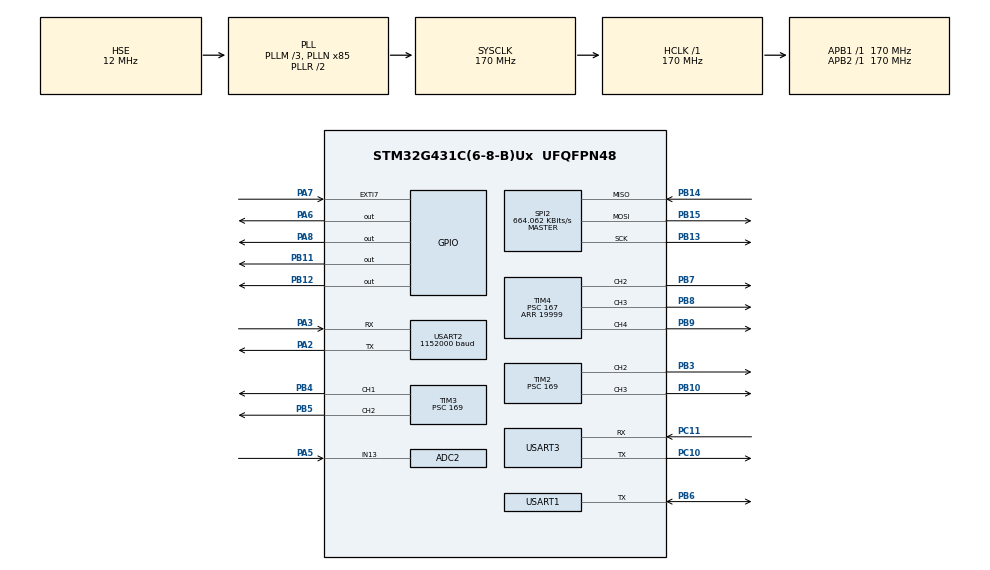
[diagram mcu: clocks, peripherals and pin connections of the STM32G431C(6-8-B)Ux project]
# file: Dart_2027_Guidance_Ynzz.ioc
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ADC2.Channel-0\#ChannelRegularConversion=ADC_CHANNEL_13
ADC2.ContinuousConvMode=ENABLE
ADC2.DMAContinuousRequests=ENABLE
ADC2.NbrOfConversionFlag=1
ADC2.OffsetNumber-0\#ChannelRegularConversion=ADC_OFFSET_NONE
ADC2.Rank-0\#ChannelRegularConversion=1
ADC2.SamplingTime-0\#ChannelRegularConversion=ADC_SAMPLETIME_247CYCLES_5
Dma.ADC2.0.Direction=DMA_PERIPH_TO_MEMORY
Dma.ADC2.0.EventEnable=DISABLE
Dma.ADC2.0.Instance=DMA1_Channel1
Dma.ADC2.0.MemDataAlignment=DMA_MDATAALIGN_HALFWORD
Dma.ADC2.0.MemInc=DMA_MINC_ENABLE
Dma.ADC2.0.Mode=DMA_CIRCULAR
Dma.ADC2.0.PeriphDataAlignment=DMA_PDATAALIGN_HALFWORD
Dma.ADC2.0.PeriphInc=DMA_PINC_DISABLE
Dma.ADC2.0.Polarity=HAL_DMAMUX_REQ_GEN_RISING
Dma.ADC2.0.Priority=DMA_PRIORITY_LOW
Dma.ADC2.0.RequestNumber=1
Dma.ADC2.0.SignalID=NONE
Dma.ADC2.0.SyncEnable=DISABLE
Dma.ADC2.0.SyncPolarity=HAL_DMAMUX_SYNC_NO_EVENT
Dma.ADC2.0.SyncRequestNumber=1
Dma.ADC2.0.SyncSignalID=NONE
Dma.Request0=ADC2
Dma.Request1=USART1_RX
Dma.Request2=USART1_TX
Dma.Request3=USART2_RX
Dma.Request4=USART2_TX
Dma.Request5=USART3_TX
Dma.Request6=USART3_RX
Dma.USART1_RX.1.Direction=DMA_PERIPH_TO_MEMORY
Dma.USART1_RX.1.EventEnable=DISABLE
Dma.USART1_RX.1.Instance=DMA1_Channel2
Dma.USART1_RX.1.MemDataAlignment=DMA_MDATAALIGN_BYTE
Dma.USART1_RX.1.MemInc=DMA_MINC_ENABLE
Dma.USART1_RX.1.Mode=DMA_NORMAL
Dma.USART1_RX.1.PeriphDataAlignment=DMA_PDATAALIGN_BYTE
Dma.USART1_RX.1.PeriphInc=DMA_PINC_DISABLE
Dma.USART1_RX.1.Polarity=HAL_DMAMUX_REQ_GEN_RISING
Dma.USART1_RX.1.Priority=DMA_PRIORITY_LOW
Dma.USART1_RX.1.RequestNumber=1
Dma.USART1_RX.1.SignalID=NONE
Dma.USART1_RX.1.SyncEnable=DISABLE
Dma.USART1_RX.1.SyncPolarity=HAL_DMAMUX_SYNC_NO_EVENT
Dma.USART1_RX.1.SyncRequestNumber=1
Dma.USART1_RX.1.SyncSignalID=NONE
Dma.USART1_TX.2.Direction=DMA_MEMORY_TO_PERIPH
Dma.USART1_TX.2.EventEnable=DISABLE
Dma.USART1_TX.2.Instance=DMA1_Channel3
Dma.USART1_TX.2.MemDataAlignment=DMA_MDATAALIGN_BYTE
Dma.USART1_TX.2.MemInc=DMA_MINC_ENABLE
Dma.USART1_TX.2.Mode=DMA_NORMAL
Dma.USART1_TX.2.PeriphDataAlignment=DMA_PDATAALIGN_BYTE
Dma.USART1_TX.2.PeriphInc=DMA_PINC_DISABLE
Dma.USART1_TX.2.Polarity=HAL_DMAMUX_REQ_GEN_RISING
Dma.USART1_TX.2.Priority=DMA_PRIORITY_LOW
Dma.USART1_TX.2.RequestNumber=1
Dma.USART1_TX.2.SignalID=NONE
Dma.USART1_TX.2.SyncEnable=DISABLE
Dma.USART1_TX.2.SyncPolarity=HAL_DMAMUX_SYNC_NO_EVENT
Dma.USART1_TX.2.SyncRequestNumber=1
Dma.USART1_TX.2.SyncSignalID=NONE
Dma.USART2_RX.3.Direction=DMA_PERIPH_TO_MEMORY
Dma.USART2_RX.3.EventEnable=DISABLE
Dma.USART2_RX.3.Instance=DMA1_Channel4
Dma.USART2_RX.3.MemDataAlignment=DMA_MDATAALIGN_BYTE
Dma.USART2_RX.3.MemInc=DMA_MINC_ENABLE
Dma.USART2_RX.3.Mode=DMA_NORMAL
Dma.USART2_RX.3.PeriphDataAlignment=DMA_PDATAALIGN_BYTE
Dma.USART2_RX.3.PeriphInc=DMA_PINC_DISABLE
Dma.USART2_RX.3.Polarity=HAL_DMAMUX_REQ_GEN_RISING
Dma.USART2_RX.3.Priority=DMA_PRIORITY_LOW
Dma.USART2_RX.3.RequestNumber=1
Dma.USART2_RX.3.SignalID=NONE
Dma.USART2_RX.3.SyncEnable=DISABLE
Dma.USART2_RX.3.SyncPolarity=HAL_DMAMUX_SYNC_NO_EVENT
Dma.USART2_RX.3.SyncRequestNumber=1
Dma.USART2_RX.3.SyncSignalID=NONE
Dma.USART2_TX.4.Direction=DMA_MEMORY_TO_PERIPH
Dma.USART2_TX.4.EventEnable=DISABLE
Dma.USART2_TX.4.Instance=DMA1_Channel5
Dma.USART2_TX.4.MemDataAlignment=DMA_MDATAALIGN_BYTE
Dma.USART2_TX.4.MemInc=DMA_MINC_ENABLE
Dma.USART2_TX.4.Mode=DMA_NORMAL
Dma.USART2_TX.4.PeriphDataAlignment=DMA_PDATAALIGN_BYTE
Dma.USART2_TX.4.PeriphInc=DMA_PINC_DISABLE
Dma.USART2_TX.4.Polarity=HAL_DMAMUX_REQ_GEN_RISING
Dma.USART2_TX.4.Priority=DMA_PRIORITY_LOW
Dma.USART2_TX.4.RequestNumber=1
Dma.USART2_TX.4.SignalID=NONE
Dma.USART2_TX.4.SyncEnable=DISABLE
Dma.USART2_TX.4.SyncPolarity=HAL_DMAMUX_SYNC_NO_EVENT
Dma.USART2_TX.4.SyncRequestNumber=1
Dma.USART2_TX.4.SyncSignalID=NONE
Dma.USART3_RX.6.Direction=DMA_PERIPH_TO_MEMORY
Dma.USART3_RX.6.EventEnable=DISABLE
Dma.USART3_RX.6.Instance=DMA2_Channel1
Dma.USART3_RX.6.MemDataAlignment=DMA_MDATAALIGN_BYTE
Dma.USART3_RX.6.MemInc=DMA_MINC_ENABLE
Dma.USART3_RX.6.Mode=DMA_NORMAL
Dma.USART3_RX.6.PeriphDataAlignment=DMA_PDATAALIGN_BYTE
Dma.USART3_RX.6.PeriphInc=DMA_PINC_DISABLE
Dma.USART3_RX.6.Polarity=HAL_DMAMUX_REQ_GEN_RISING
Dma.USART3_RX.6.Priority=DMA_PRIORITY_LOW
Dma.USART3_RX.6.RequestNumber=1
Dma.USART3_RX.6.SignalID=NONE
Dma.USART3_RX.6.SyncEnable=DISABLE
Dma.USART3_RX.6.SyncPolarity=HAL_DMAMUX_SYNC_NO_EVENT
Dma.USART3_RX.6.SyncRequestNumber=1
Dma.USART3_RX.6.SyncSignalID=NONE
Dma.USART3_TX.5.Direction=DMA_MEMORY_TO_PERIPH
Dma.USART3_TX.5.EventEnable=DISABLE
Dma.USART3_TX.5.Instance=DMA1_Channel6
Dma.USART3_TX.5.MemDataAlignment=DMA_MDATAALIGN_BYTE
Dma.USART3_TX.5.MemInc=DMA_MINC_ENABLE
Dma.USART3_TX.5.Mode=DMA_NORMAL
Dma.USART3_TX.5.PeriphDataAlignment=DMA_PDATAALIGN_BYTE
Dma.USART3_TX.5.PeriphInc=DMA_PINC_DISABLE
Dma.USART3_TX.5.Polarity=HAL_DMAMUX_REQ_GEN_RISING
Dma.USART3_TX.5.Priority=DMA_PRIORITY_LOW
Dma.USART3_TX.5.RequestNumber=1
Dma.USART3_TX.5.SignalID=NONE
Dma.USART3_TX.5.SyncEnable=DISABLE
Dma.USART3_TX.5.SyncPolarity=HAL_DMAMUX_SYNC_NO_EVENT
Dma.USART3_TX.5.SyncRequestNumber=1
Dma.USART3_TX.5.SyncSignalID=NONE
FREERTOS.INCLUDE_eTaskGetState=1
FREERTOS.INCLUDE_pcTaskGetTaskName=1
FREERTOS.INCLUDE_uxTaskGetStackHighWaterMark=1
FREERTOS.INCLUDE_uxTaskGetStackHighWaterMark2=1
FREERTOS.INCLUDE_vTaskCleanUpResources=1
FREERTOS.INCLUDE_vTaskDelayUntil=1
FREERTOS.INCLUDE_xQueueGetMutexHolder=1
FREERTOS.INCLUDE_xSemaphoreGetMutexHolder=1
FREERTOS.INCLUDE_xTaskAbortDelay=1
FREERTOS.INCLUDE_xTaskGetCurrentTaskHandle=1
FREERTOS.INCLUDE_xTaskGetHandle=1
FREERTOS.Tasks01=Init_Task,0,512,InitTask,Default,NULL,Dynamic,NULL,NULL;SelfTest_Task,-3,512,SelfTestTask,Default,NULL,Dynamic,NULL,NULL;IMU_Task,-3,512,IMUTask,Default,NULL,Dynamic,NULL,NULL;Total_Control_Task,-3,512,TotalControlTask,Default,NULL,Dynamic,NULL,NULL
FREERTOS.configMAX_TASK_NAME_LEN=20
FREERTOS.configMINIMAL_STACK_SIZE=512
FREERTOS.configTOTAL_HEAP_SIZE=15360
Mcu.Family=STM32G4
Mcu.Name=STM32G431C(6-8-B)Ux
Mcu.Package=UFQFPN48
NVIC.ADC1_2_IRQn=true\:5\:0\:false\:false\:true\:true\:true\:true\:true
NVIC.DMA1_Channel1_IRQn=true\:5\:0\:false\:false\:true\:true\:false\:true\:true
NVIC.DMA1_Channel2_IRQn=true\:5\:0\:false\:false\:true\:true\:false\:true\:true
NVIC.DMA1_Channel3_IRQn=true\:5\:0\:false\:false\:true\:true\:false\:true\:true
NVIC.DMA1_Channel4_IRQn=true\:5\:0\:false\:false\:true\:true\:false\:true\:true
NVIC.DMA1_Channel5_IRQn=true\:5\:0\:false\:false\:true\:true\:false\:true\:true
NVIC.DMA1_Channel6_IRQn=true\:5\:0\:false\:false\:true\:true\:false\:true\:true
NVIC.DMA2_Channel1_IRQn=true\:5\:0\:false\:false\:true\:true\:false\:true\:true
NVIC.EXTI9_5_IRQn=true\:5\:0\:false\:false\:true\:true\:true\:true\:true
NVIC.PriorityGroup=NVIC_PRIORITYGROUP_4
NVIC.SPI2_IRQn=true\:5\:0\:false\:false\:true\:true\:true\:true\:true
NVIC.TIM1_BRK_TIM15_IRQn=true\:5\:0\:false\:false\:true\:true\:true\:true\:true
NVIC.TIM1_UP_TIM16_IRQn=true\:15\:0\:false\:false\:true\:false\:false\:true\:true
NVIC.TIM6_DAC_IRQn=true\:5\:0\:false\:false\:true\:true\:true\:true\:true
NVIC.TIM7_IRQn=true\:5\:0\:false\:false\:true\:true\:true\:true\:true
NVIC.TimeBase=TIM1_UP_TIM16_IRQn
NVIC.TimeBaseIP=TIM1
NVIC.USART1_IRQn=true\:5\:0\:false\:false\:true\:true\:true\:true\:true
NVIC.USART2_IRQn=true\:5\:0\:false\:false\:true\:true\:true\:true\:true
NVIC.USART3_IRQn=true\:5\:0\:false\:false\:true\:true\:true\:true\:true
PA13.Mode=Serial_Wire
PA13.Signal=SYS_JTMS-SWDIO
PA14.Mode=Serial_Wire
PA14.Signal=SYS_JTCK-SWCLK
PA2.Mode=Asynchronous
PA2.Signal=USART2_TX
PA3.Mode=Asynchronous
PA3.Signal=USART2_RX
PA5.Mode=IN13-Single-Ended
PA5.Signal=ADC2_IN13
PA6.Signal=GPIO_Output
PA7.Signal=GPXTI7
PA8.Signal=GPIO_Output
PB10.Signal=S_TIM2_CH3
PB11.Signal=GPIO_Output
PB12.Signal=GPIO_Output
PB13.Mode=Full_Duplex_Master
PB13.Signal=SPI2_SCK
PB14.Mode=Full_Duplex_Master
PB14.Signal=SPI2_MISO
PB15.Mode=Full_Duplex_Master
PB15.Signal=SPI2_MOSI
PB3.Signal=S_TIM2_CH2
PB4.Signal=S_TIM3_CH1
PB5.Signal=S_TIM3_CH2
PB6.Mode=Half_duplex(single_wire_mode)
PB6.Signal=USART1_TX
PB7.Signal=S_TIM4_CH2
PB8-BOOT0.Signal=S_TIM4_CH3
PB9.Signal=S_TIM4_CH4
PC10.Mode=Asynchronous
PC10.Signal=USART3_TX
PC11.Mode=Asynchronous
PC11.Signal=USART3_RX
PF0-OSC_IN.Mode=HSE-External-Oscillator
PF0-OSC_IN.Signal=RCC_OSC_IN
PF1-OSC_OUT.Mode=HSE-External-Oscillator
PF1-OSC_OUT.Signal=RCC_OSC_OUT
ProjectManager.HeapSize=0x200
ProjectManager.StackSize=0x400
ProjectManager.TargetToolchain=MDK-ARM V5.32
RCC.ADC12Freq_Value=170000000
RCC.AHBFreq_Value=170000000
RCC.APB1Freq_Value=170000000
RCC.APB1TimFreq_Value=170000000
RCC.APB2Freq_Value=170000000
RCC.APB2TimFreq_Value=170000000
RCC.CortexFreq_Value=170000000
RCC.EXTERNAL_CLOCK_VALUE=12288000
RCC.HCLKFreq_Value=170000000
RCC.HSE_VALUE=12000000
RCC.HSI48_VALUE=48000000
RCC.HSI_VALUE=16000000
RCC.LSE_VALUE=32768
RCC.PLLM=RCC_PLLM_DIV3
RCC.PLLN=85
RCC.PLLSourceVirtual=RCC_PLLSOURCE_HSE
RCC.SYSCLKFreq_VALUE=170000000
RCC.SYSCLKSource=RCC_SYSCLKSOURCE_PLLCLK
RCC.USBFreq_Value=170000000
RCC.VCOOutputFreq_Value=340000000
SH.S_TIM2_CH2.0=TIM2_CH2,PWM Generation2 CH2
SH.S_TIM2_CH3.0=TIM2_CH3,PWM Generation3 CH3
SH.S_TIM3_CH1.0=TIM3_CH1,PWM Generation1 CH1
SH.S_TIM3_CH2.0=TIM3_CH2,PWM Generation2 CH2
SH.S_TIM4_CH2.0=TIM4_CH2,PWM Generation2 CH2
SH.S_TIM4_CH3.0=TIM4_CH3,PWM Generation3 CH3
SH.S_TIM4_CH4.0=TIM4_CH4,PWM Generation4 CH4
SPI2.BaudRatePrescaler=SPI_BAUDRATEPRESCALER_256
SPI2.CalculateBaudRate=664.062 KBits/s
SPI2.DataSize=SPI_DATASIZE_8BIT
SPI2.Direction=SPI_DIRECTION_2LINES
SPI2.Mode=SPI_MODE_MASTER
SPI2.NSSPMode=SPI_NSS_PULSE_DISABLE
SPI2.VirtualType=VM_MASTER
STMicroelectronics.X-CUBE-ALGOBUILD.1.4.0.LibraryCcDSPOoLibraryJjDSPOoLibrary=true
TIM15.PeriodNoDither=999
TIM15.Prescaler=167
TIM2.Channel-PWM\ Generation2\ CH2=TIM_CHANNEL_2
TIM2.Channel-PWM\ Generation3\ CH3=TIM_CHANNEL_3
TIM2.PeriodNoDither=999
TIM2.Prescaler=169
TIM3.Channel-PWM\ Generation1\ CH1=TIM_CHANNEL_1
TIM3.Channel-PWM\ Generation2\ CH2=TIM_CHANNEL_2
TIM3.PeriodNoDither=19999
TIM3.Prescaler=169
TIM4.Channel-PWM\ Generation2\ CH2=TIM_CHANNEL_2
TIM4.Channel-PWM\ Generation3\ CH3=TIM_CHANNEL_3
TIM4.Channel-PWM\ Generation4\ CH4=TIM_CHANNEL_4
TIM4.PeriodNoDither=19999
TIM4.Prescaler=167
TIM6.PeriodNoDither=9999
TIM7.PeriodNoDither=9999
TIM7.Prescaler=167
USART1.BaudRate=921600
USART1.VirtualMode-Half_duplex(single_wire_mode)=VM_ASYNC
USART2.BaudRate=1152000
USART2.VirtualMode-Asynchronous=VM_ASYNC
USART3.VirtualMode-Asynchronous=VM_ASYNC
VP_FREERTOS_VS_CMSIS_V1.Mode=CMSIS_V1
VP_STMicroelectronics.X-CUBE-ALGOBUILD_VS_DSPOoLibraryJjLibrary_1.4.0_1.4.0.Mode=DSPOoLibraryJjLibrary
VP_SYS_VS_DBSignals.Mode=DisableDeadBatterySignals
VP_SYS_VS_tim1.Mode=TIM1
VP_TIM15_VS_ClockSourceINT.Mode=Internal
VP_TIM2_VS_ClockSourceINT.Mode=Internal
VP_TIM3_VS_ClockSourceINT.Mode=Internal
VP_TIM4_VS_ClockSourceINT.Mode=Internal
VP_TIM6_VS_ClockSourceINT.Mode=Enable_Timer
VP_TIM7_VS_ClockSourceINT.Mode=Enable_Timer
board=custom

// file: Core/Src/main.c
/* USER CODE BEGIN Header */
/**
  ******************************************************************************
  * @file           : main.c
  * @brief          : Main program body
  ******************************************************************************
  * @attention
  *
  * Copyright (c) 2026 STMicroelectronics.
  * All rights reserved.
  *
  * This software is licensed under terms that can be found in the LICENSE file
  * in the root directory of this software component.
  * If no LICENSE file comes with this software, it is provided AS-IS.
  *
  ******************************************************************************
  */
/* USER CODE END Header */
#include "main.h"
#include "cmsis_os.h"
#include "adc.h"
#include "dma.h"
#include "spi.h"
#include "tim.h"
#include "usart.h"
#include "gpio.h"

void SystemClock_Config(void);
void MX_FREERTOS_Init(void);

int main(void)
{

  /* MCU Configuration--------------------------------------------------------*/

  /* Reset of all peripherals, Initializes the Flash interface and the Systick. */
  HAL_Init();

  /* Configure the system clock */
  SystemClock_Config();

  /* Initialize all configured peripherals */
  MX_GPIO_Init();
  MX_DMA_Init();
  MX_ADC2_Init();
  MX_SPI2_Init();
  MX_TIM2_Init();
  MX_TIM3_Init();
  MX_TIM4_Init();
  MX_TIM6_Init();
  MX_TIM7_Init();
  MX_TIM15_Init();
  MX_USART1_UART_Init();
  MX_USART2_UART_Init();
  MX_USART3_UART_Init();

  /* Call init function for freertos objects (in cmsis_os2.c) */
  MX_FREERTOS_Init();

  /* Start scheduler */
  osKernelStart();

  /* We should never get here as control is now taken by the scheduler */

  /* Infinite loop */
  while (1)
  {

  }
}

void SystemClock_Config(void)
{
  RCC_OscInitTypeDef RCC_OscInitStruct = {0};
  RCC_ClkInitTypeDef RCC_ClkInitStruct = {0};

  /** Configure the main internal regulator output voltage
  */
  HAL_PWREx_ControlVoltageScaling(PWR_REGULATOR_VOLTAGE_SCALE1_BOOST);

  /** Initializes the RCC Oscillators according to the specified parameters
  * in the RCC_OscInitTypeDef structure.
  */
  RCC_OscInitStruct.OscillatorType = RCC_OSCILLATORTYPE_HSE;
  RCC_OscInitStruct.HSEState = RCC_HSE_ON;
  RCC_OscInitStruct.PLL.PLLState = RCC_PLL_ON;
  RCC_OscInitStruct.PLL.PLLSource = RCC_PLLSOURCE_HSE;
  RCC_OscInitStruct.PLL.PLLM = RCC_PLLM_DIV3;
  RCC_OscInitStruct.PLL.PLLN = 85;
  RCC_OscInitStruct.PLL.PLLP = RCC_PLLP_DIV2;
  RCC_OscInitStruct.PLL.PLLQ = RCC_PLLQ_DIV2;
  RCC_OscInitStruct.PLL.PLLR = RCC_PLLR_DIV2;
  if (HAL_RCC_OscConfig(&RCC_OscInitStruct) != HAL_OK)
  {
    Error_Handler();
  }

  /** Initializes the CPU, AHB and APB buses clocks
  */
  RCC_ClkInitStruct.ClockType = RCC_CLOCKTYPE_HCLK|RCC_CLOCKTYPE_SYSCLK
                              |RCC_CLOCKTYPE_PCLK1|RCC_CLOCKTYPE_PCLK2;
  RCC_ClkInitStruct.SYSCLKSource = RCC_SYSCLKSOURCE_PLLCLK;
  RCC_ClkInitStruct.AHBCLKDivider = RCC_SYSCLK_DIV1;
  RCC_ClkInitStruct.APB1CLKDivider = RCC_HCLK_DIV1;
  RCC_ClkInitStruct.APB2CLKDivider = RCC_HCLK_DIV1;

  if (HAL_RCC_ClockConfig(&RCC_ClkInitStruct, FLASH_LATENCY_4) != HAL_OK)
  {
    Error_Handler();
  }
}

// void HAL_TIM_PeriodElapsedCallback(TIM_HandleTypeDef *htim)
// {
//   /* USER CODE BEGIN Callback 0 */
//   /* USER CODE END Callback 0 */
//   if (htim->Instance == TIM1)
//   {
//     HAL_IncTick();
//   }
//   /* USER CODE BEGIN Callback 1 */
//   /* USER CODE END Callback 1 */
// }

void Error_Handler(void)
{
  __disable_irq();
  while (1)
  {
  }
}

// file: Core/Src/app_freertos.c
/* USER CODE BEGIN Header */
/**
  ******************************************************************************
  * File Name          : app_freertos.c
  * Description        : Code for freertos applications
  ******************************************************************************
  * @attention
  *
  * Copyright (c) 2026 STMicroelectronics.
  * All rights reserved.
  *
  * This software is licensed under terms that can be found in the LICENSE file
  * in the root directory of this software component.
  * If no LICENSE file comes with this software, it is provided AS-IS.
  *
  ******************************************************************************
  */
/* USER CODE END Header */

#include "FreeRTOS.h"
#include "task.h"
#include "main.h"
#include "cmsis_os.h"

/* USER CODE BEGIN Includes */

#include "ADC_Battery.h"
#include "buzzer.h"
#include "CallBack_Task.h"
#include "IMU.h"
#include "Init_Config.h"
#include "TotalControl.h"
#include "surface_control_task.h"
#include "user_lib.h"
/* USER CODE END Includes */

/* USER CODE BEGIN Variables */

float ADC_Voltage_Real;
/* USER CODE END Variables */
osThreadId Init_TaskHandle;
osThreadId SelfTest_TaskHandle;
osThreadId IMU_TaskHandle;
osThreadId Total_Control_TaskHandle;

void InitTask(void const * argument);
void SelfTestTask(void const * argument);
void IMUTask(void const * argument);
void TotalControlTask(void const * argument);

void MX_FREERTOS_Init(void); /* (MISRA C 2004 rule 8.1) */

void MX_FREERTOS_Init(void) {

  /* Create the thread(s) */
  /* definition and creation of Init_Task */
  osThreadDef(Init_Task, InitTask, osPriorityNormal, 0, 512);
  Init_TaskHandle = osThreadCreate(osThread(Init_Task), NULL);

  /* definition and creation of SelfTest_Task */
  osThreadDef(SelfTest_Task, SelfTestTask, osPriorityIdle, 0, 512);
  SelfTest_TaskHandle = osThreadCreate(osThread(SelfTest_Task), NULL);

  /* definition and creation of IMU_Task
   * 2026-08-12:优先级 Idle→Low(高于 Total_Control_Task)。原同为 Idle、无同步,控制环
   * "可能用上一拍姿态"(启动时顺序随机)。现 IMU 每 tick 先跑→控制后用新姿态,0 滞后确定性化。
   * ⚠ 时序变更,需台架回归确认无新增抖动。 */
  osThreadDef(IMU_Task, IMUTask, osPriorityLow, 0, 512);
  IMU_TaskHandle = osThreadCreate(osThread(IMU_Task), NULL);

  /* definition and creation of Total_Control_Task */
  osThreadDef(Total_Control_Task, TotalControlTask, osPriorityIdle, 0, 512);
  Total_Control_TaskHandle = osThreadCreate(osThread(Total_Control_Task), NULL);

}

void InitTask(void const * argument)
{
  /* USER CODE BEGIN InitTask */
  /* Infinite loop */
  for(;;)
  {
    if(init_flag==0)
    {
        TotalInitTask();
        init_flag = 1;
    }
    osDelay(1);
  }
  /* USER CODE END InitTask */
}

void SelfTestTask(void const * argument)
{
  /* USER CODE BEGIN SelfTestTask */
  /* Infinite loop */
  for(;;)
  {
	// Total_Power_Control(Power_ON);
    if (Guidance_State == Self_Text_State)
    {
        Self_Text_Task();
        static uint16_t Self_Text_cnt = 0;
        if((Self_Text_cnt++)%10==0)
        {
          // Buzzer_Remind();
        }
    }
	  Buzzer_play_task(&Buzzer_message);
    osDelay(100);
  }
  /* USER CODE END SelfTestTask */
}

void IMUTask(void const * argument)
{
  /* USER CODE BEGIN IMUTask */
  IMU_Calibrate();
  TickType_t xLastWake = xTaskGetTickCount();
  // IMU_Data.calib_done = 1;
  /* Infinite loop */
  for(;;)
  {
    IMU_Task();
    vTaskDelayUntil(&xLastWake, pdMS_TO_TICKS(CTRL_PERIOD_MS));
  }
  /* USER CODE END IMUTask */
}

void TotalControlTask(void const * argument)
{
  /* USER CODE BEGIN TotalControlTask */
  TickType_t xLastWake = xTaskGetTickCount();
  /* Infinite loop */
  for(;;)
  {
    TotalControl();
    // control_cnt++;
    vTaskDelayUntil(&xLastWake, pdMS_TO_TICKS(CTRL_PERIOD_MS));
  }
  /* USER CODE END TotalControlTask */
}
